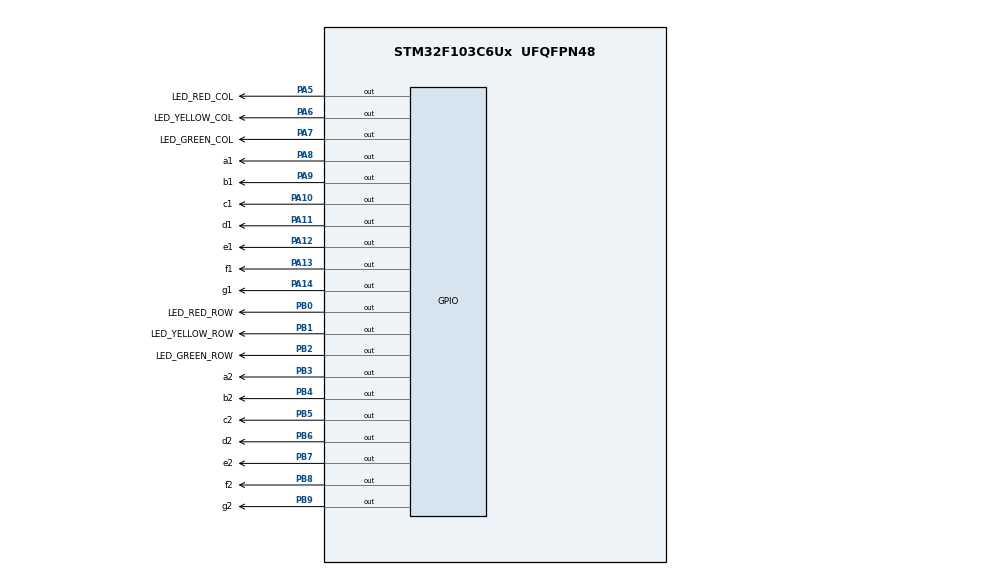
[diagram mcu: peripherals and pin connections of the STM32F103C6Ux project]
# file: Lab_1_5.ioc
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Mcu.Family=STM32F1
Mcu.Name=STM32F103C6Ux
Mcu.Package=UFQFPN48
NVIC.PriorityGroup=NVIC_PRIORITYGROUP_4
PA10.GPIO_Label=c1
PA10.Signal=GPIO_Output
PA11.GPIO_Label=d1
PA11.Signal=GPIO_Output
PA12.GPIO_Label=e1
PA12.Signal=GPIO_Output
PA13.GPIO_Label=f1
PA13.Signal=GPIO_Output
PA14.GPIO_Label=g1
PA14.Signal=GPIO_Output
PA5.GPIO_Label=LED_RED_COL
PA5.Signal=GPIO_Output
PA6.GPIO_Label=LED_YELLOW_COL
PA6.Signal=GPIO_Output
PA7.GPIO_Label=LED_GREEN_COL
PA7.Signal=GPIO_Output
PA8.GPIO_Label=a1
PA8.Signal=GPIO_Output
PA9.GPIO_Label=b1
PA9.Signal=GPIO_Output
PB0.GPIO_Label=LED_RED_ROW
PB0.Signal=GPIO_Output
PB1.GPIO_Label=LED_YELLOW_ROW
PB1.Signal=GPIO_Output
PB2.GPIO_Label=LED_GREEN_ROW
PB2.Signal=GPIO_Output
PB3.GPIO_Label=a2
PB3.Signal=GPIO_Output
PB4.GPIO_Label=b2
PB4.Signal=GPIO_Output
PB5.GPIO_Label=c2
PB5.Signal=GPIO_Output
PB6.GPIO_Label=d2
PB6.Signal=GPIO_Output
PB7.GPIO_Label=e2
PB7.Signal=GPIO_Output
PB8.GPIO_Label=f2
PB8.Signal=GPIO_Output
PB9.GPIO_Label=g2
PB9.Signal=GPIO_Output
ProjectManager.HeapSize=0x200
ProjectManager.StackSize=0x400
ProjectManager.TargetToolchain=STM32CubeIDE
RCC.APB1Freq_Value=8000000
RCC.APB2Freq_Value=8000000
VP_SYS_VS_ND.Mode=No_Debug
board=custom

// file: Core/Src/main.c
/* USER CODE BEGIN Header */
/**
  ******************************************************************************
  * @file           : main.c
  * @brief          : Main program body
  ******************************************************************************
  * @attention
  *
  * <h2><center>&copy; Copyright (c) 2026 STMicroelectronics.
  * All rights reserved.</center></h2>
  *
  * This software component is licensed by ST under BSD 3-Clause license,
  * the "License"; You may not use this file except in compliance with the
  * License. You may obtain a copy of the License at:
  *                        opensource.org/licenses/BSD-3-Clause
  *
  ******************************************************************************
  */
/* USER CODE END Header */
#include "main.h"

void SystemClock_Config(void);
static void MX_GPIO_Init(void);

/* USER CODE BEGIN 0 */
void setGroupCOL(int r, int y, int g) {
    HAL_GPIO_WritePin(GPIOA, LED_RED_COL_Pin,    r ? GPIO_PIN_RESET : GPIO_PIN_SET);
    HAL_GPIO_WritePin(GPIOA, LED_YELLOW_COL_Pin, y ? GPIO_PIN_RESET : GPIO_PIN_SET);
    HAL_GPIO_WritePin(GPIOA, LED_GREEN_COL_Pin,  g ? GPIO_PIN_RESET : GPIO_PIN_SET);
}

void setGroupROW(int r, int y, int g) {
    HAL_GPIO_WritePin(GPIOB, LED_RED_ROW_Pin,    r ? GPIO_PIN_RESET : GPIO_PIN_SET);
    HAL_GPIO_WritePin(GPIOB, LED_YELLOW_ROW_Pin, y ? GPIO_PIN_RESET : GPIO_PIN_SET);
    HAL_GPIO_WritePin(GPIOB, LED_GREEN_ROW_Pin,  g ? GPIO_PIN_RESET : GPIO_PIN_SET);
}

uint8_t segTable[10][7] = {
    // a  b  c  d  e  f  g
    {  0, 0, 0, 0, 0, 0, 1 }, // 0
    {  1, 0, 0, 1, 1, 1, 1 }, // 1
    {  0, 0, 1, 0, 0, 1, 0 }, // 2
    {  0, 0, 0, 0, 1, 1, 0 }, // 3
    {  1, 0, 0, 1, 1, 0, 0 }, // 4
    {  0, 1, 0, 0, 1, 0, 0 }, // 5
    {  0, 1, 0, 0, 0, 0, 0 }, // 6
    {  0, 0, 0, 1, 1, 1, 1 }, // 7
    {  0, 0, 0, 0, 0, 0, 0 }, // 8
    {  0, 0, 0, 0, 1, 0, 0 }  // 9
};

// seg1: hiển thị cho ROW (cột ngang)
void display7SEG_COL(int num) {
    HAL_GPIO_WritePin(GPIOA, a1_Pin, segTable[num][0]);
    HAL_GPIO_WritePin(GPIOA, b1_Pin, segTable[num][1]);
    HAL_GPIO_WritePin(GPIOA, c1_Pin, segTable[num][2]);
    HAL_GPIO_WritePin(GPIOA, d1_Pin, segTable[num][3]);
    HAL_GPIO_WritePin(GPIOA, e1_Pin, segTable[num][4]);
    HAL_GPIO_WritePin(GPIOA, f1_Pin, segTable[num][5]);
    HAL_GPIO_WritePin(GPIOA, g1_Pin, segTable[num][6]);
}

// seg2: hiển thị cho COL (cột dọc)
void display7SEG_ROW(int num) {
    HAL_GPIO_WritePin(GPIOB, a2_Pin, segTable[num][0]);
    HAL_GPIO_WritePin(GPIOB, b2_Pin, segTable[num][1]);
    HAL_GPIO_WritePin(GPIOB, c2_Pin, segTable[num][2]);
    HAL_GPIO_WritePin(GPIOB, d2_Pin, segTable[num][3]);
    HAL_GPIO_WritePin(GPIOB, e2_Pin, segTable[num][4]);
    HAL_GPIO_WritePin(GPIOB, f2_Pin, segTable[num][5]);
    HAL_GPIO_WritePin(GPIOB, g2_Pin, segTable[num][6]);
}
/* USER CODE END 0 */

int main(void)
{

  /* MCU Configuration--------------------------------------------------------*/

  /* Reset of all peripherals, Initializes the Flash interface and the Systick. */
  HAL_Init();

  /* Configure the system clock */
  SystemClock_Config();

  /* Initialize all configured peripherals */
  MX_GPIO_Init();

  /* Infinite loop */
  /* USER CODE BEGIN WHILE */
  int t = 0; // giây hiện tại trong chu kỳ 10s
  while (1)
  {
      if (t < 5) {
          setGroupCOL(1, 0, 0);                   // COL đỏ
          setGroupROW(0, t >= 3, t < 3);          // ROW xanh 3s rồi vàng 2s
          display7SEG_COL(5 - t);
          display7SEG_ROW(t < 3 ? 3 - t : 5 - t);
      } else {
          setGroupCOL(0, t >= 8, t < 8);          // COL xanh 3s rồi vàng 2s
          setGroupROW(1, 0, 0);                   // ROW đỏ
          display7SEG_COL(t < 8 ? 8 - t : 10 - t);
          display7SEG_ROW(10 - t);
      }
      HAL_Delay(1000);
      t++;
      if (t >= 10) t = 0;
      /* USER CODE END WHILE */

  }
}

void SystemClock_Config(void)
{
  RCC_OscInitTypeDef RCC_OscInitStruct = {0};
  RCC_ClkInitTypeDef RCC_ClkInitStruct = {0};

  /** Initializes the RCC Oscillators according to the specified parameters
  * in the RCC_OscInitTypeDef structure.
  */
  RCC_OscInitStruct.OscillatorType = RCC_OSCILLATORTYPE_HSI;
  RCC_OscInitStruct.HSIState = RCC_HSI_ON;
  RCC_OscInitStruct.HSICalibrationValue = RCC_HSICALIBRATION_DEFAULT;
  RCC_OscInitStruct.PLL.PLLState = RCC_PLL_NONE;
  if (HAL_RCC_OscConfig(&RCC_OscInitStruct) != HAL_OK)
  {
    Error_Handler();
  }
  /** Initializes the CPU, AHB and APB buses clocks
  */
  RCC_ClkInitStruct.ClockType = RCC_CLOCKTYPE_HCLK|RCC_CLOCKTYPE_SYSCLK
                              |RCC_CLOCKTYPE_PCLK1|RCC_CLOCKTYPE_PCLK2;
  RCC_ClkInitStruct.SYSCLKSource = RCC_SYSCLKSOURCE_HSI;
  RCC_ClkInitStruct.AHBCLKDivider = RCC_SYSCLK_DIV1;
  RCC_ClkInitStruct.APB1CLKDivider = RCC_HCLK_DIV1;
  RCC_ClkInitStruct.APB2CLKDivider = RCC_HCLK_DIV1;

  if (HAL_RCC_ClockConfig(&RCC_ClkInitStruct, FLASH_LATENCY_0) != HAL_OK)
  {
    Error_Handler();
  }
}

static void MX_GPIO_Init(void)
{
  GPIO_InitTypeDef GPIO_InitStruct = {0};

  /* GPIO Ports Clock Enable */
  __HAL_RCC_GPIOA_CLK_ENABLE();
  __HAL_RCC_GPIOB_CLK_ENABLE();

  /*Configure GPIO pin Output Level */
  HAL_GPIO_WritePin(GPIOA, LED_RED_COL_Pin|LED_YELLOW_COL_Pin|LED_GREEN_COL_Pin|a1_Pin
                          |b1_Pin|c1_Pin|d1_Pin|e1_Pin
                          |f1_Pin|g1_Pin, GPIO_PIN_RESET);

  /*Configure GPIO pin Output Level */
  HAL_GPIO_WritePin(GPIOB, LED_RED_ROW_Pin|LED_YELLOW_ROW_Pin|LED_GREEN_ROW_Pin|a2_Pin
                          |b2_Pin|c2_Pin|d2_Pin|e2_Pin
                          |f2_Pin|g2_Pin, GPIO_PIN_RESET);

  /*Configure GPIO pins : LED_RED_COL_Pin LED_YELLOW_COL_Pin LED_GREEN_COL_Pin a1_Pin
                           b1_Pin c1_Pin d1_Pin e1_Pin
                           f1_Pin g1_Pin */
  GPIO_InitStruct.Pin = LED_RED_COL_Pin|LED_YELLOW_COL_Pin|LED_GREEN_COL_Pin|a1_Pin
                          |b1_Pin|c1_Pin|d1_Pin|e1_Pin
                          |f1_Pin|g1_Pin;
  GPIO_InitStruct.Mode = GPIO_MODE_OUTPUT_PP;
  GPIO_InitStruct.Pull = GPIO_NOPULL;
  GPIO_InitStruct.Speed = GPIO_SPEED_FREQ_LOW;
  HAL_GPIO_Init(GPIOA, &GPIO_InitStruct);

  /*Configure GPIO pins : LED_RED_ROW_Pin LED_YELLOW_ROW_Pin LED_GREEN_ROW_Pin a2_Pin
                           b2_Pin c2_Pin d2_Pin e2_Pin
                           f2_Pin g2_Pin */
  GPIO_InitStruct.Pin = LED_RED_ROW_Pin|LED_YELLOW_ROW_Pin|LED_GREEN_ROW_Pin|a2_Pin
                          |b2_Pin|c2_Pin|d2_Pin|e2_Pin
                          |f2_Pin|g2_Pin;
  GPIO_InitStruct.Mode = GPIO_MODE_OUTPUT_PP;
  GPIO_InitStruct.Pull = GPIO_NOPULL;
  GPIO_InitStruct.Speed = GPIO_SPEED_FREQ_LOW;
  HAL_GPIO_Init(GPIOB, &GPIO_InitStruct);

}

void Error_Handler(void)
{
  __disable_irq();
  while (1)
  {
  }
}

/************************ (C) COPYRIGHT STMicroelectronics *****END OF FILE****/
